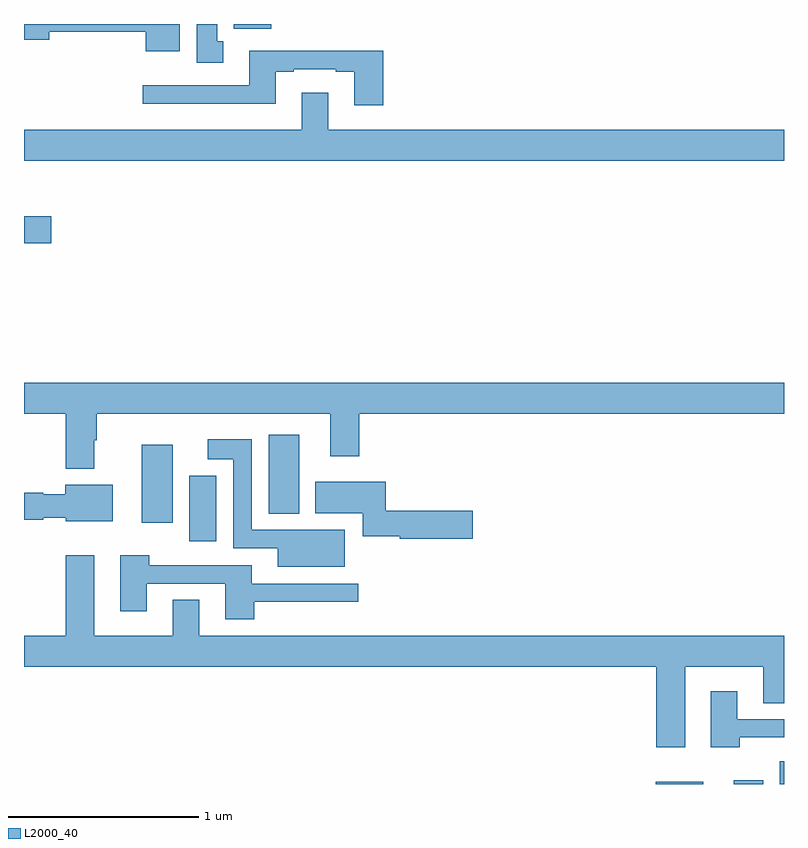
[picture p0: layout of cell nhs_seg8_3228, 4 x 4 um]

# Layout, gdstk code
import gdstk
lib = gdstk.Library(unit=1e-6, precision=1e-09)
def R(c, l, rs):  # rectangles x0, y0, x1, y1
    for r in rs: c.add(gdstk.rectangle(r[:2], r[2:], *l))
def P(c, l, *ps):  # polygons
    for p in ps: c.add(gdstk.Polygon(p, *l))
L2000_40 = (2000, 40)

nhs_seg8_3228 = lib.new_cell('nhs_seg8_3228')
R(nhs_seg8_3228, L2000_40, [(314.324,1099.9,314.575,1099.912), (314.735,1099.9,314.89,1099.921), (314.978,1099.9,315,1100.02), (311.87,1101.177,312.013,1101.523), (311.621,1101.276,311.782,1101.685), (312.287,1101.323,312.448,1101.739), (311,1102.745,311.143,1102.887), (312.104,1103.876,312.301,1103.9)])
P(nhs_seg8_3228, L2000_40, [(312.049,1103.81),(312.016,1103.81),(312.016,1103.9),(311.909,1103.9),(311.909,1103.697),(312.049,1103.697)],
  [(311.821,1103.9),(311,1103.9),(311,1103.818),(311.134,1103.818),(311.134,1103.86),(311.642,1103.86),(311.642,1103.756),(311.821,1103.756)],
  [(312.89,1103.758),(312.185,1103.758),(312.185,1103.577),(311.625,1103.577),(311.625,1103.48),(312.325,1103.48),(312.325,1103.649),(312.421,1103.649),(312.421,1103.661),(312.641,1103.661),(312.641,1103.649),(312.737,1103.649),(312.737,1103.472),(312.89,1103.472)],
  [(315,1103.344),(312.601,1103.344),(312.601,1103.539),(312.461,1103.539),(312.461,1103.344),(311,1103.344),(311,1103.18),(315,1103.18)],
  [(311.371,1101.71),(311.384,1101.71),(311.384,1101.848),(312.611,1101.848),(312.611,1101.624),(312.764,1101.624),(312.764,1101.848),(315,1101.848),(315,1102.012),(311,1102.012),(311,1101.848),(311.219,1101.848),(311.219,1101.56),(311.371,1101.56)],
  [(312.688,1101.238),(312.444,1101.238),(312.444,1101.237),(312.198,1101.237),(312.198,1101.715),(311.967,1101.715),(311.967,1101.608),(312.102,1101.608),(312.102,1101.141),(312.335,1101.141),(312.335,1101.044),(312.688,1101.044)],
  [(313.363,1101.338),(312.905,1101.338),(312.905,1101.49),(312.533,1101.49),(312.533,1101.326),(312.782,1101.326),(312.782,1101.203),(312.978,1101.203),(312.978,1101.191),(313.363,1101.191)],
  [(311.467,1101.475),(311.216,1101.475),(311.216,1101.424),(311.1,1101.424),(311.1,1101.432),(311,1101.432),(311,1101.29),(311.1,1101.29),(311.1,1101.302),(311.22,1101.302),(311.22,1101.284),(311.467,1101.284)],
  [(312.212,1100.858),(312.76,1100.858),(312.76,1100.955),(312.199,1100.955),(312.199,1101.051),(311.66,1101.051),(311.66,1101.103),(311.507,1101.103),(311.507,1100.808),(311.647,1100.808),(311.647,1100.955),(312.059,1100.955),(312.059,1100.766),(312.212,1100.766)],
  [(314.479,1100.516),(314.891,1100.516),(314.891,1100.326),(315,1100.326),(315,1100.68),(311.923,1100.68),(311.923,1100.87),(311.783,1100.87),(311.783,1100.68),(311.371,1100.68),(311.371,1101.103),(311.219,1101.103),(311.219,1100.68),(311,1100.68),(311,1100.516),(314.327,1100.516),(314.327,1100.094),(314.479,1100.094)],
  [(314.768,1100.145),(315,1100.145),(315,1100.241),(314.755,1100.241),(314.755,1100.389),(314.615,1100.389),(314.615,1100.094),(314.768,1100.094)])

lib.write_gds('nhs_seg8_3228.gds')
